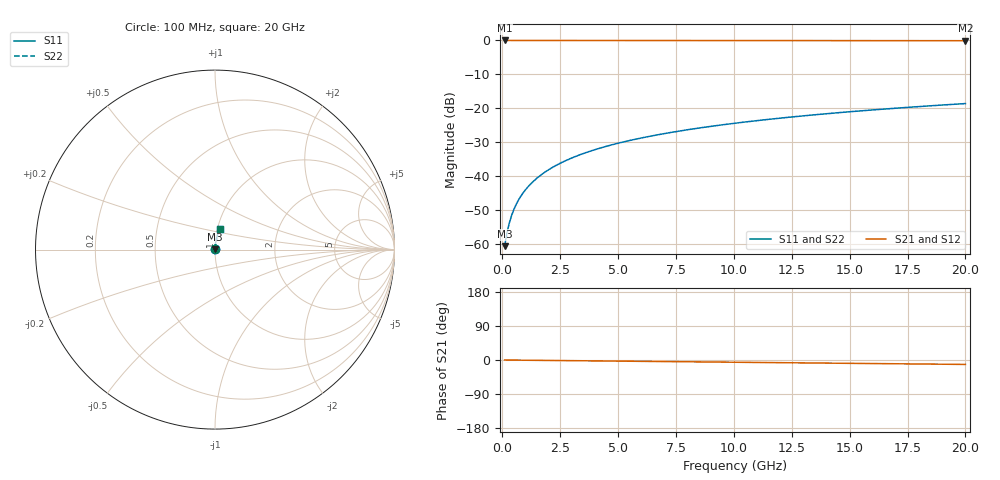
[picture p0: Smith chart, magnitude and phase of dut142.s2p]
! Touchstone file exported from HFSS 2026.1.0
!  File:  C:/ffzhzh/LocalFiles/Ansys_Project_Files/temp_train_TSV_142_1782990416_6248.aedt
!  Generated:  07:09:25 PM Jul  2, 2026
!  Design:  TSV
!  Project:  temp_train_TSV_142_1782990416_6248
! Variables:
!  h_bsmrdl = 2um
!  h_ox = 20um
!  h_rdl = 5um
!  h_sub = 93.84um
!  h_tmrdl = 5um
!  h_tsv = 93.84um
!  h_via = 3um
!  l_bsmrdl = 300um
!  l_sub = 408.14um
!  l_tmrdl = 200um
!  m_sub = 200um
!  pitch = 48.39um
!  r_tsv = 4.07um
!  s_tmrdl = 10um
!  w_bsmrdl = 18um
!  w_sub = 500um
!  w_tmrdl = 12um
!  x_tsv_center1 = 206um
!  x_tsv_center2 = 524um
!  x_tsv_center3 = 736um
!  x_tsv_center4 = 1054um
!  x_tsv_center5 = 1266um
!  x_tsv_center6 = 1584um
# GHz S MA R 50.000000
! Terminal data exported
! Port[1] = TSV1_1_T1
! Port[2] = TSV1_1_T2
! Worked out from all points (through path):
!   200 points, 100 MHz to 20 GHz, reference 50 ohm
!   highest |S21| = -0.01 dB at 100 MHz (marker M1); lowest = -0.1 dB at 20 GHz (marker M2)
!   group delay of S21, straight-line fit = 1.62 ps
!   lowest |S11| = -60.7 dB at 100 MHz (marker M3), VSWR 1.00, Z = 50.1 + j0.0635 ohm
!   |S11| at or under -10 dB: start of sweep to end of sweep
!   |S22| runs from -60.7 to -18.6 dB; largest |S21 - S12| = 2.1e-15
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0.1  0.0009252 43.3  0.9993 -0.1  0.9993 -0.1  0.0009252 43.3
! Gamma 0 0 0 0
! Port Impedance 50 0 50 0
0.2  0.001439 61.6  0.9993 -0.1  0.9993 -0.1  0.001439 61.6
0.3  0.002017 69.7  0.9993 -0.2  0.9993 -0.2  0.002017 69.7
0.4  0.002614 74.1  0.9993 -0.2  0.9993 -0.2  0.002614 74.1
0.5  0.003218 76.8  0.9993 -0.3  0.9993 -0.3  0.003218 76.8
0.6  0.003825 78.6  0.9993 -0.4  0.9993 -0.4  0.003825 78.6
0.8  0.005045 80.9  0.9992 -0.5  0.9992 -0.5  0.005045 80.9
1.1  0.006882 82.8  0.9992 -0.7  0.9992 -0.7  0.006882 82.8
1.5  0.009334 84.0  0.9991 -0.9  0.9991 -0.9  0.009334 84.0
1.8  0.01117 84.5  0.9991 -1.1  0.9991 -1.1  0.01117 84.5
2.1  0.01301 84.7  0.999 -1.3  0.999 -1.3  0.01301 84.7
2.7  0.01666 84.9  0.9988 -1.6  0.9988 -1.6  0.01666 84.9
3.5  0.02151 84.9  0.9986 -2.1  0.9986 -2.1  0.02151 84.9
4.2  0.02572 84.7  0.9984 -2.5  0.9984 -2.5  0.02572 84.7
5  0.03049 84.4  0.9981 -3.0  0.9981 -3.0  0.03049 84.4
5.9  0.03583 84.0  0.9978 -3.5  0.9978 -3.5  0.03583 84.0
6.8  0.04115 83.6  0.9975 -4.0  0.9975 -4.0  0.04115 83.6
8.3  0.04995 82.9  0.9968 -4.9  0.9968 -4.9  0.04995 82.9
10.1  0.06046 82.0  0.9961 -6.0  0.9961 -6.0  0.06046 82.0
13.4  0.07959 80.4  0.9944 -7.9  0.9944 -7.9  0.07959 80.4
16.7  0.09852 78.7  0.9925 -9.8  0.9925 -9.8  0.09852 78.7
20  0.1172 76.9  0.9902 -11.7  0.9902 -11.7  0.1172 76.9
